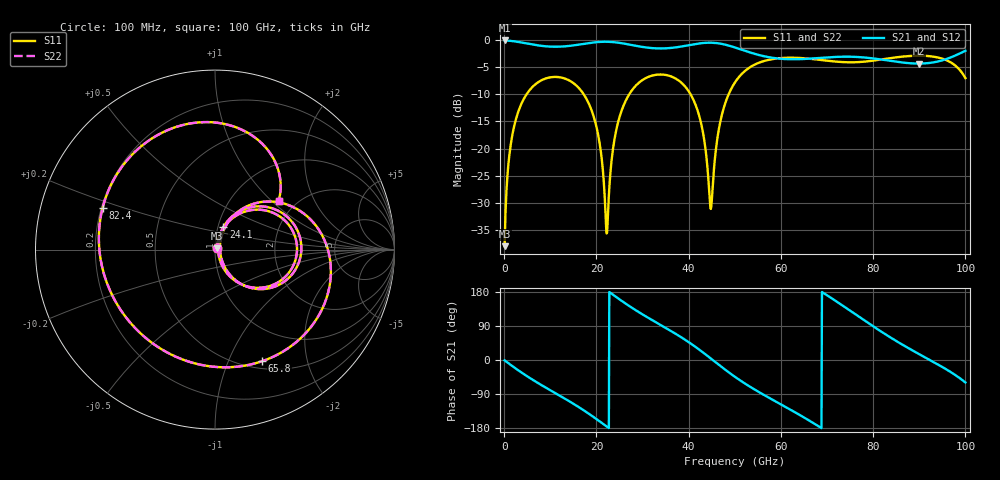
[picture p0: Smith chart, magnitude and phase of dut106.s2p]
! Touchstone file exported from HFSS 2026.1.0
!  File:  C:/ffzhzh/LocalFiles/Ansys_Project_Files/temp_train_TSV_RDL_106_1783634274_33328.aedt
!  Generated:  06:04:08 AM Jul 10, 2026
!  Design:  TSV_RDL
!  Project:  temp_train_TSV_RDL_106_1783634274_33328
! Variables:
!  h_bsmrdl = 4.86um
!  h_ox = 20um
!  h_rdl = 5um
!  h_sub = 81.49um
!  h_tmrdl = 4.8um
!  h_tsv = 81.49um
!  h_via = 3um
!  l_bsmrdl = 464.82um
!  l_sub = 2450.59um
!  l_tmrdl = 138.42um
!  m_sub = 200um
!  pitch = 48.09um
!  r_tsv = 13.15um
!  s_tmrdl = 10um
!  w_bsmrdl = 16.87um
!  w_sub = 500um
!  w_tmrdl = 17.28um
!  x_tsv_center1 = 147.06um
!  x_tsv_center2 = 628.75um
!  x_tsv_center3 = 784.45um
!  x_tsv_center4 = 1266.14um
!  x_tsv_center5 = 1421.84um
!  x_tsv_center6 = 1903.53um
# GHz S MA R 50.000000
! Terminal data exported
! Port[1] = TM_RDL1_1_T1
! Port[2] = TM_RDL5_1_T1
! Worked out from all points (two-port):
!   1000 points, 100 MHz to 100 GHz, reference 50 ohm
!   highest |S21| = -0.08 dB at 100 MHz (marker M1); lowest = -4.3 dB at 89.9 GHz (marker M2)
!   |S21| within 3 dB of the highest: start of sweep to 56.87 GHz; 97.19 GHz to end of sweep (the widest 2 of 3)
!   lowest |S11| = -38.0 dB at 100 MHz (marker M3), VSWR 1.03, Z = 51 + j0.827 ohm
!   |S11| at or under -10 dB: start of sweep to 4.861 GHz; 17.25 GHz to 27.12 GHz (9.863 GHz wide, 44.5 % of centre); 40.42 GHz to 48.67 GHz (8.254 GHz wide, 18.5 % of centre)
!   |S22| runs from -38.0 to -2.9 dB; largest |S21 - S12| = 2.8e-13
!   S11 on the Smith chart (normalised r, x): 100 MHz: 1.02, +0.02; 24.1 GHz: 1.06, +0.27; 65.8 GHz: 0.59, -1.34; 82.4 GHz: 0.21, +0.17; 100 GHz: 1.63, +1.11
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0.1  0.01264 39.9  0.9904 -0.9  0.9904 -0.9  0.01264 39.9
! Gamma 0 0 0 0
! Port Impedance 50 0 50 0
1.6  0.121 69.3  0.9795 -14.5  0.9795 -14.5  0.121 69.3
4.4  0.2937 48.2  0.9374 -38.2  0.9374 -38.2  0.2937 48.2
10.7  0.4567 3.4  0.8675 -84.7  0.8675 -84.7  0.4567 3.4
16.8  0.3367 -39.1  0.915 -129.2  0.915 -129.2  0.3367 -39.1
20.2  0.146 -63.2  0.9567 -157.5  0.9567 -157.5  0.146 -63.1
22.2  0.01655 -8.5  0.9637 -175.2  0.9637 -175.2  0.01685 -8.1
24.1  0.1341 69.7  0.9521 167.9  0.9521 167.9  0.1342 69.5
27.6  0.3396 45.3  0.8996 138.6  0.8996 138.6  0.3396 45.2
33.4  0.4806 5.0  0.8365 96.1  0.8365 96.1  0.4806 4.9
41.2  0.2715 -49.4  0.9142 37.1  0.9142 37.1  0.2715 -49.3
44.8  0.02783 1.9  0.9441 4.1  0.9441 4.1  0.02874 2.0
46.9  0.1798 64.0  0.9252 -16.0  0.9252 -16.0  0.18 63.7
50.1  0.4104 40.8  0.8519 -44.9  0.8519 -44.9  0.4106 40.6
57.6  0.6601 -12.2  0.6919 -100.9  0.6919 -100.9  0.6603 -12.3
65.8  0.675 -67.1  0.6717 -157.3  0.6717 -157.3  0.6752 -67.1
66.7  0.6693 -73.6  0.6756 -163.9  0.6756 -163.9  0.6695 -73.5
76  0.6239 -147.9  0.6997 121.9  0.6997 121.9  0.624 -147.7
82.4  0.668 159.5  0.6551 69.9  0.6551 69.9  0.6679 159.7
83.4  0.6778 151.8  0.6456 62.2  0.6456 62.2  0.6776 152.0
89.9  0.7171 106.1  0.6068 16.0  0.6068 16.0  0.7168 106.3
100  0.446 37.4  0.7956 -59.3  0.7956 -59.3  0.4457 37.3
